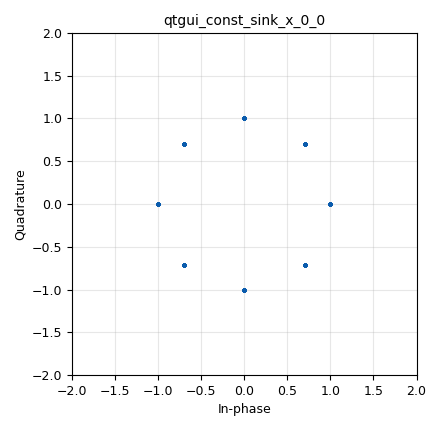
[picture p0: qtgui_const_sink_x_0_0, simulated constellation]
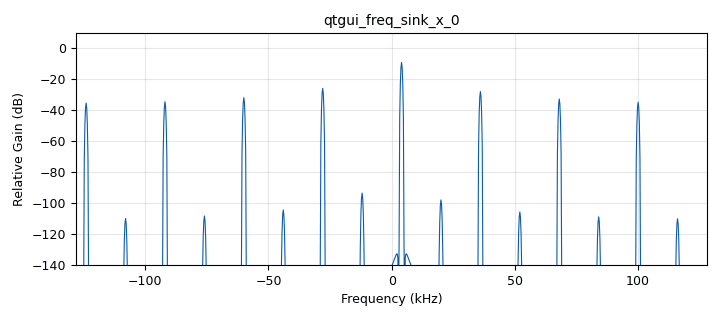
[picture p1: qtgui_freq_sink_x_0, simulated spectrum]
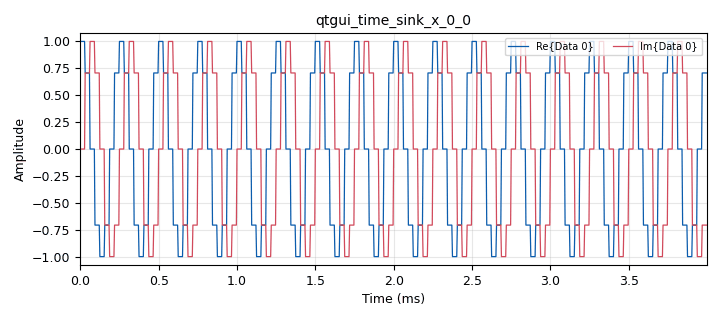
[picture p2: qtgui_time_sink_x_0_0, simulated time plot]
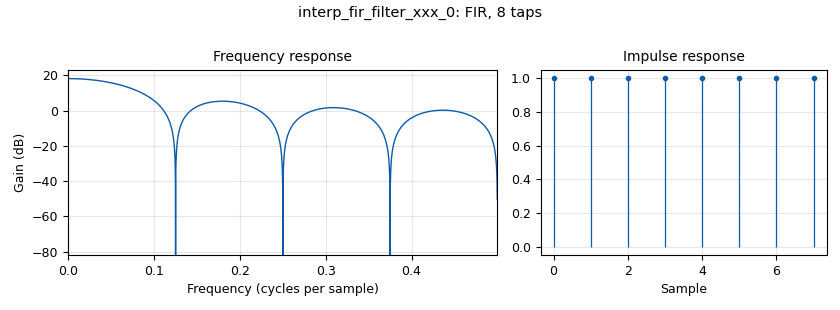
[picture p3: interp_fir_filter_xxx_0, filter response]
options:
  parameters:
    generate_options: qt_gui
    id: punto_7_practica_4
    output_language: python
    title: Not titled yet
  states: {}

blocks:
- name: M
  id: variable
  parameters:
    value: len(tabla_de_verdad_constelacion)
  states: {}
- name: Rb
  id: variable
  parameters:
    value: Rs*bps
  states: {}
- name: Rs
  id: variable
  parameters:
    value: '32000'
  states: {}
- name: Sps
  id: variable
  parameters:
    value: '8'
  states: {}
- name: bps
  id: variable
  parameters:
    value: math.log(M,2)
  states: {}
- name: h
  id: variable
  parameters:
    value: '[1]*Sps'
  states: {}
- name: samp_rate
  id: variable
  parameters:
    value: Rs*Sps
  states: {}
- name: samp_rate_0
  id: variable
  parameters:
    value: '32000'
  states: {}
- name: tabla_de_verdad_constelacion
  id: variable
  parameters:
    value: (1+0j, 0.707+0.707j, 0+1j, -0.707+0.707j, -1+0j, -0.707-0.707j, 0-1j, 0.707-0.707j)
  states: {}
- name: analog_noise_source_x_0
  id: analog_noise_source_x
  parameters:
    amp: '0'
    noise_type: analog.GR_GAUSSIAN
    seed: '0'
    type: complex
  states: {}
- name: blocks_add_xx_0
  id: blocks_add_xx
  parameters:
    type: complex
  states: {}
- name: blocks_vector_source_x_2
  id: blocks_vector_source_x
  parameters:
    repeat: 'True'
    type: byte
    vector: (0, 1, 2, 3, 4, 5, 6, 7)
  states: {}
- name: digital_chunks_to_symbols_xx_0
  id: digital_chunks_to_symbols_xx
  parameters:
    dimension: '1'
    in_type: byte
    out_type: complex
    symbol_table: tabla_de_verdad_constelacion
  states: {}
- name: import_0
  id: import
  parameters:
    imports: import math
  states: {}
- name: interp_fir_filter_xxx_0
  id: interp_fir_filter_xxx
  parameters:
    interp: '8'
    taps: h
    type: ccc
  states: {}
- name: qtgui_const_sink_x_0_0
  id: qtgui_const_sink_x
  parameters:
    size: '1024'
    type: complex
  states: {}
- name: qtgui_freq_sink_x_0
  id: qtgui_freq_sink_x
  parameters:
    average: '0.05'
    bw: samp_rate
    fc: '0'
    fftsize: '1024'
    type: complex
  states: {}
- name: qtgui_time_sink_x_0_0
  id: qtgui_time_sink_x
  parameters:
    size: '1024'
    srate: samp_rate
    type: complex
  states: {}
- name: virtual_sink_0
  id: virtual_sink
  parameters:
    stream_id: p1
  states: {}
- name: virtual_sink_1
  id: virtual_sink
  parameters:
    stream_id: p0
  states: {}
- name: virtual_source_0
  id: virtual_source
  parameters:
    stream_id: p1
  states: {}
- name: virtual_source_1
  id: virtual_source
  parameters:
    stream_id: p0
  states: {}

connections:
- [analog_noise_source_x_0, '0', blocks_add_xx_0, '0']
- [blocks_add_xx_0, '0', virtual_sink_0, '0']
- [blocks_vector_source_x_2, '0', digital_chunks_to_symbols_xx_0, '0']
- [digital_chunks_to_symbols_xx_0, '0', interp_fir_filter_xxx_0, '0']
- [interp_fir_filter_xxx_0, '0', blocks_add_xx_0, '1']
- [interp_fir_filter_xxx_0, '0', virtual_sink_1, '0']
- [virtual_source_0, '0', qtgui_const_sink_x_0_0, '0']
- [virtual_source_0, '0', qtgui_time_sink_x_0_0, '0']
- [virtual_source_1, '0', qtgui_freq_sink_x_0, '0']

metadata:
  file_format: 1
  grc_version: 3.10.9.2
